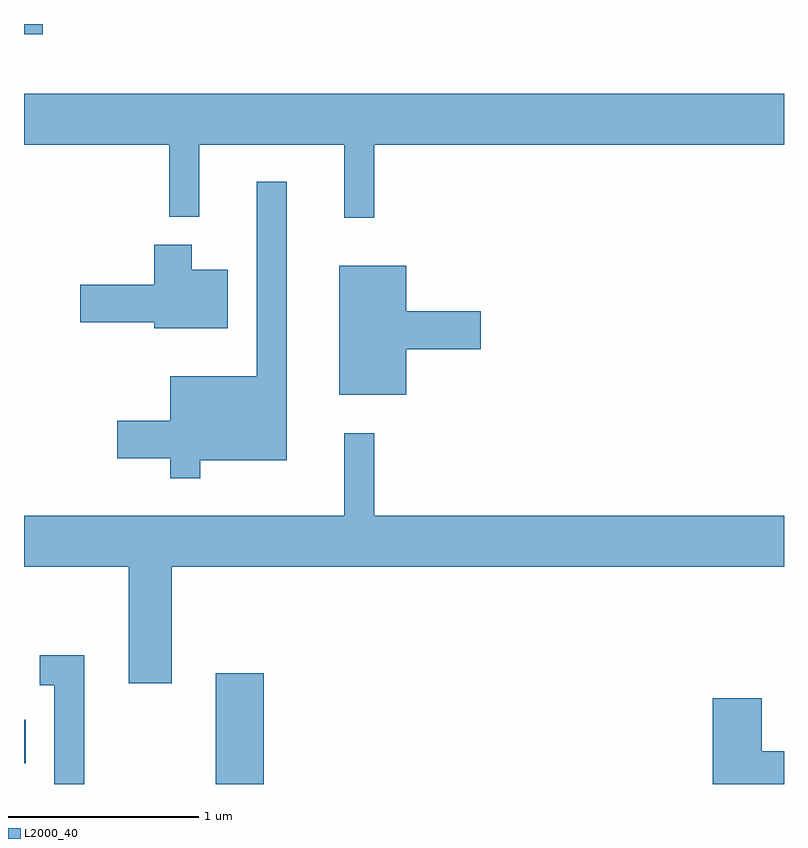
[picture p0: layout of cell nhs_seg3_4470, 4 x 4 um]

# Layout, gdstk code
import gdstk
lib = gdstk.Library(unit=1e-6, precision=1e-09)
def R(c, l, rs):  # rectangles x0, y0, x1, y1
    for r in rs: c.add(gdstk.rectangle(r[:2], r[2:], *l))
def P(c, l, *ps):  # polygons
    for p in ps: c.add(gdstk.Polygon(p, *l))
L2000_40 = (2000, 40)

nhs_seg3_4470 = lib.new_cell('nhs_seg3_4470')
R(nhs_seg3_4470, L2000_40, [(316.621,1215.892,316.874,1216.474), (315.611,1216.001,315.619,1216.229), (315.611,1219.838,315.709,1219.892)])
P(nhs_seg3_4470, L2000_40, [(317.454,1219.256),(319.611,1219.256),(319.611,1219.524),(315.611,1219.524),(315.611,1219.256),(316.376,1219.256),(316.376,1218.878),(316.534,1218.878),(316.534,1219.256),(317.296,1219.256),(317.296,1218.873),(317.454,1218.873)],
  [(316.539,1217.596),(316.994,1217.596),(316.994,1219.063),(316.836,1219.063),(316.836,1218.039),(316.381,1218.039),(316.381,1217.804),(316.101,1217.804),(316.101,1217.606),(316.381,1217.606),(316.381,1217.501),(316.539,1217.501)],
  [(316.684,1218.599),(316.494,1218.599),(316.494,1218.729),(316.296,1218.729),(316.296,1218.519),(315.906,1218.519),(315.906,1218.321),(316.296,1218.321),(316.296,1218.291),(316.684,1218.291)],
  [(317.624,1218.181),(318.014,1218.181),(318.014,1218.379),(317.624,1218.379),(317.624,1218.619),(317.271,1218.619),(317.271,1217.941),(317.624,1217.941)],
  [(316.389,1217.036),(319.611,1217.036),(319.611,1217.304),(317.454,1217.304),(317.454,1217.738),(317.296,1217.738),(317.296,1217.304),(315.611,1217.304),(315.611,1217.036),(316.161,1217.036),(316.161,1216.421),(316.389,1216.421)],
  [(315.929,1216.569),(315.693,1216.569),(315.693,1216.411),(315.771,1216.411),(315.771,1215.892),(315.929,1215.892)],
  [(319.611,1216.064),(319.494,1216.064),(319.494,1216.344),(319.236,1216.344),(319.236,1215.892),(319.611,1215.892)])

lib.write_gds('nhs_seg3_4470.gds')
